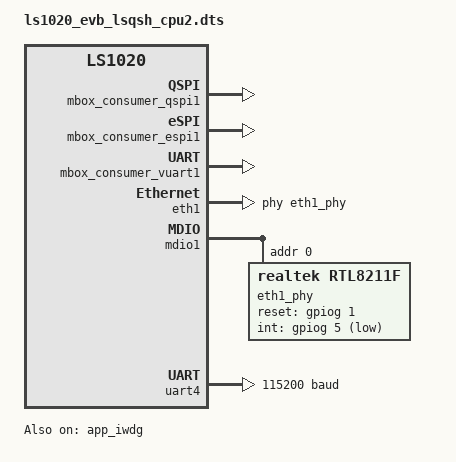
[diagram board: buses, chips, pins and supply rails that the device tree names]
/*
 * Copyright (c) 2025 linkedsemi
 * SPDX-License-Identifier: Apache-2.0
 */

/dts-v1/;
#include <riscv/linkedsemi/lsqsh.dtsi>
#include "ls1020_evb_pinctrl.dtsi"

#define BTN_GPIO_FLAGS (GPIO_ACTIVE_HIGH | GPIO_PULL_UP)

&chosen {
    zephyr,flash = &flash1;
    zephyr,console = &uart4;
    zephyr,shell-uart = &uart4;
    zephyr,sram = &sram;
};

&aliases {
    sdhc0 = &sdhci1;
    watchdog0=&app_iwdg;
};

&sram {
    reg = <0x10080000 DT_SIZE_K(768)>;
};

&psram {
    status = "disabled";
};

&soc {
    flash1: flash@8800000 {
        compatible = "soc-nv-flash";
        reg = <0x8800000 DT_SIZE_M(8)>;
        erase-block-size = <4096>;
        write-block-size = <4>;
    };
    driver_share_memory: memory@1013e000 {
        compatible = "zephyr,memory-region", "mmio-sram";
        reg = <0x1013e000 0xffc>;
        zephyr,memory-region = "SHMEM";
    };

    driver_reset_reason: memory@1013effc {
        compatible = "zephyr,memory-region", "mmio-sram";
        reg = <0x1013effc 0x4>;
        zephyr,memory-region = "RESET_REASON";
    };

    mbox_memory: memory@1013f000 {
        compatible = "zephyr,memory-region", "mmio-sram";
        reg = <0x1013f000 DT_SIZE_K(4)>;
        zephyr,memory-region = "MBOX";
    };

    mbox: mbox {
        compatible = "linkedsemi,mbox";
        #mbox-cells = <3>;
        interrupts = <SYSC_APP_CPU_IRQN 3>;

        mbox_consumer_qspi1: mbox-consumer_qspi1 {
            compatible = "vnd,mbox-consumer";
            mboxes = <&mbox 0 24 1>, <&mbox 0 24 1>;
            mbox-names = "tx", "rx";
        };
        mbox_consumer_otbn_crypto: mbox-consumer_otbn_crypto {
            compatible = "vnd,mbox-consumer";
            mboxes = <&mbox 1 32 1>, <&mbox 1 32 1>;
            mbox-names = "tx", "rx";
        };
        mbox_consumer_espi1: mbox-consumer_espi1 {
            compatible = "vnd,mbox-consumer";
            mboxes = <&mbox 2 8 1>, <&mbox 2 8 1>;
            mbox-names = "tx", "rx";
        };
        mbox_consumer_vuart1: mbox-mbox_consumer_vuart1 {
            compatible = "vnd,mbox-consumer";
            mboxes = <&mbox 3 8 1>, <&mbox 3 8 1>;
            mbox-names = "tx", "rx";
        };
        socket_mbox_server: mbox-socket_mbox_server {
            compatible = "vnd,mbox-consumer";
            mboxes = <&mbox 4 12 16>, <&mbox 4 32 16>;
            mbox-names = "tx", "rx";
        };
    };

};

&eth1 {
    phy-handle = <&eth1_phy>;
    status = "okay";
};

&mdio1 {
    status = "okay";
    eth1_phy: ethernet-phy@0 {
        compatible = "realtek,rtl8211f";
        reg = <0>;
        reset-gpios = <&gpiog 1 GPIO_ACTIVE_HIGH>;
        int-gpios = <&gpiog 5 GPIO_ACTIVE_LOW>;
        status = "okay";
    };
};

&cpu1 {
    status = "disabled";
};

&cpu2 {
    status = "okay";
};

&uart1 {
    current-speed = <115200>;
    status = "disabled";
};

&uart2 {
    current-speed = <115200>;
    status = "disabled";
};

&uart3 {
    current-speed = <115200>;
    status = "disabled";
};

&uart4 {
    current-speed = <115200>;
    status = "okay";
};

&uart5 {
    current-speed = <115200>;
    status = "disabled";
};

&app_iwdg {
    status = "okay";
};

&psram {
    status = "okay";
};

&gpioa {
    status = "okay";
};

&gpiob {
    status = "okay";
};

&gpioc {
    status = "okay";
};

&gpiod {
    status = "okay";
};

&gpioe {
    status = "okay";
};

&gpiof {
    status = "okay";
};

&gpiog {
    status = "okay";
};

&gpioh {
    status = "okay";
};

&gpioi {
    status = "okay";
};

&gpioj {
    status = "okay";
};

&gpiok {
    status = "okay";
};

&gpiom {
    status = "okay";
};

&gpion {
    status = "okay";
};

&gpioq {
    status = "okay";
};

&gpiot {
    status = "okay";
};


